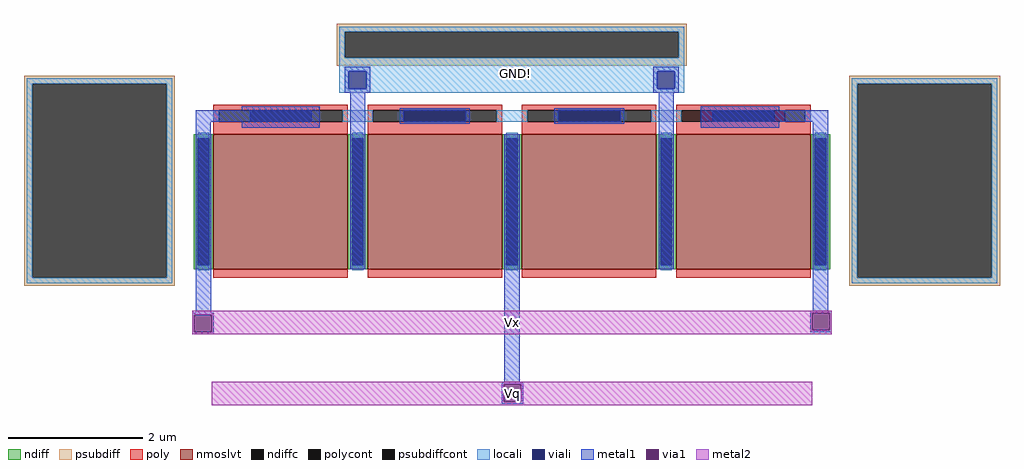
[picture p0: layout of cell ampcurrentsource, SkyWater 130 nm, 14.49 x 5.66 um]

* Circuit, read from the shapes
.subckt ampcurrentsource Vx Vq GND!
XM1 GND! Vx Vx GND! sky130_fd_pr__nfet_01v8_lvt w=2 l=2 m=2
XM2 Vq Vx GND! GND! sky130_fd_pr__nfet_01v8_lvt w=2 l=2 m=2
.ends

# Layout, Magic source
magic
tech sky130A
magscale 1 2
<< psubdiff >>
rect 430 670 1470 694
rect 430 594 454 670
rect 1446 594 1470 670
rect 430 570 1470 594
rect -498 516 -50 540
rect -498 -60 -474 516
rect -74 -60 -50 516
rect 1952 516 2400 540
rect -498 -84 -50 -60
rect 1952 -60 1976 516
rect 2376 -60 2400 516
rect 1952 -84 2400 -60
<< psubdiffcont >>
rect 454 594 1446 670
rect -474 -60 -74 516
rect 1976 -60 2376 516
<< poly >>
rect 1438 404 1762 438
<< locali >>
rect 438 670 1462 686
rect 438 594 454 670
rect 1446 594 1462 670
rect 438 554 1462 594
rect -490 516 -58 532
rect -490 -60 -474 516
rect -74 -60 -58 516
rect 438 502 466 554
rect 518 502 1382 554
rect 1434 502 1462 554
rect 438 490 1462 502
rect 1960 516 2392 532
rect 464 404 522 438
rect 922 404 980 438
rect 1380 404 1438 438
rect -490 -76 -58 -60
rect 1960 -60 1976 516
rect 2376 -60 2392 516
rect 1960 -76 2392 -60
<< viali >>
rect 466 502 518 554
rect 1382 502 1434 554
<< metal1 >>
rect 454 554 530 566
rect 454 502 466 554
rect 518 502 530 554
rect 454 490 530 502
rect 1370 554 1446 566
rect 1370 502 1382 554
rect 1434 502 1446 554
rect 1370 490 1446 502
rect 148 438 380 450
rect 12 404 380 438
rect 12 366 56 404
rect 148 386 380 404
rect 12 -164 58 366
rect 470 -22 516 490
rect 2 -170 66 -164
rect 2 -222 8 -170
rect 60 -222 66 -170
rect 2 -228 66 -222
rect 928 -370 974 366
rect 1386 -22 1432 490
rect 1512 438 1744 450
rect 1512 404 1890 438
rect 1512 386 1744 404
rect 1844 -158 1890 404
rect 1836 -164 1900 -158
rect 1836 -216 1842 -164
rect 1894 -216 1900 -164
rect 1836 -222 1900 -216
rect 920 -376 984 -370
rect 920 -428 926 -376
rect 978 -428 984 -376
rect 920 -434 984 -428
<< via1 >>
rect 8 -222 60 -170
rect 1842 -216 1894 -164
rect 926 -428 978 -376
<< metal2 >>
rect 2 -164 1900 -158
rect 2 -170 1842 -164
rect 2 -222 8 -170
rect 60 -216 1842 -170
rect 1894 -216 1900 -164
rect 60 -222 1900 -216
rect 2 -228 1900 -222
rect 60 -376 1842 -368
rect 60 -428 926 -376
rect 978 -428 1842 -376
rect 60 -438 1842 -428
use sky130_fd_pr__nfet_01v8_lvt_NHDRDL  sky130_fd_pr__nfet_01v8_lvt_NHDRDL_0
transform 1 0 951 0 1 197
box -945 -257 945 257
<< labels >>
flabel metal2 60 -438 1842 -368 1 FreeSans 800 0 0 0 Vq
port 2 n
flabel metal2 60 -228 1842 -158 1 FreeSans 800 0 0 0 Vx
port 1 n
flabel locali 920 532 1002 560 1 FreeSans 800 0 0 0 GND!
port 3 n
<< end >>

# cell sky130_fd_pr__nfet_01v8_lvt_NHDRDL: kit device sky130_fd_pr__nfet_01v8_lvt, w 2 l 2 m 1 nf 4 diffcov 100 polycov 100 guard 0 glc 1 grc 1 gtc 1 gbc 1 tbcov 100 rlcov 100 topc 1 botc 0 poverlap 0 doverlap 1 lmin 0.15 wmin 0.42 compatible {sky130_fd_pr__nfet_01v8 sky130_fd_pr__nfet_01v8_lvt sky130_fd_bs_flash__special_sonosfet_star sky130_fd_pr__nfet_g5v0d10v5 sky130_fd_pr__nfet_05v0_nvt sky130_fd_pr__nfet_03v3_nvt} full_metal 1 viasrc 100 viadrn 100 viagate 50 viagb 0 viagr 0 viagl 0 viagt 0
